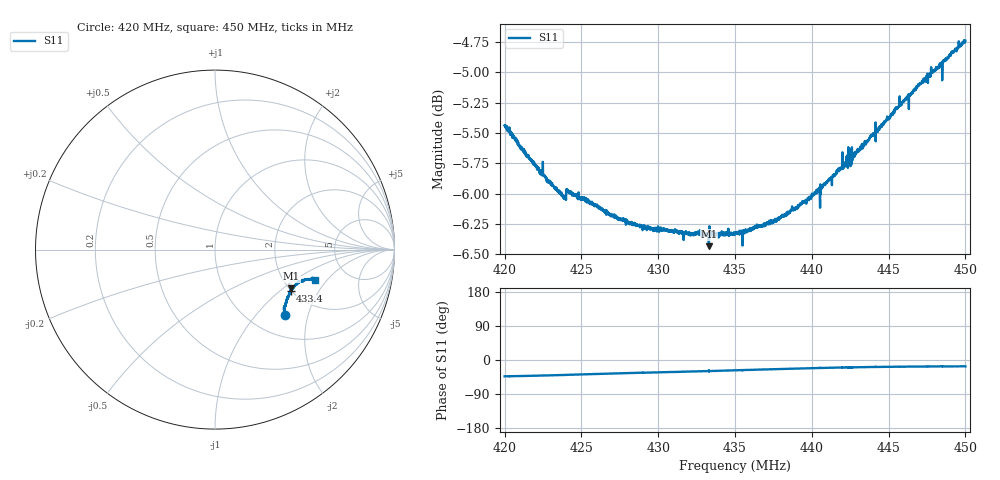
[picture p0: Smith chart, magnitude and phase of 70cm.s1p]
! Calibrated averaged scanner-service zoom
# Hz S RI R 50
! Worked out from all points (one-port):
!   3001 points, 420 MHz to 450 MHz, reference 50 ohm
!   lowest |S11| = -6.4 dB at 433.3 MHz (marker M1), VSWR 2.82, Z = 102 - j57.3 ohm
!   |S11| at or under -10 dB: nowhere
!   S11 on the Smith chart (normalised r, x): 420 MHz: 1.42, -1.45; 433.4 MHz: 1.97, -1.20; 450 MHz: 2.94, -1.48
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4.2e8  0.3913 -0.3646
4.2064e8  0.3891 -0.3576
4.2175e8  0.3866 -0.3442
4.2286e8  0.3846 -0.3304
4.2375e8  0.3846 -0.3196
4.2385e8  0.385 -0.3185
4.242e8  0.3901 -0.3159
4.275e8  0.3991 -0.2835
4.2889e8  0.4038 -0.2698
4.3125e8  0.4135 -0.2514
4.333e8  0.4251 -0.216
4.3335e8  0.4214 -0.2328
4.35e8  0.4292 -0.22
4.3756e8  0.4448 -0.2009
4.3875e8  0.4545 -0.1929
4.4053e8  0.4648 -0.1791
4.4203e8  0.4839 -0.1747
4.424e8  0.4871 -0.1723
4.425e8  0.4892 -0.1731
4.4264e8  0.4905 -0.1681
4.4279e8  0.4919 -0.1718
4.4421e8  0.5045 -0.1672
4.4557e8  0.5179 -0.1659
4.4625e8  0.5242 -0.165
4.4772e8  0.5374 -0.164
4.4835e8  0.542 -0.1652
4.4921e8  0.5493 -0.1655
4.5e8  0.5548 -0.1674
